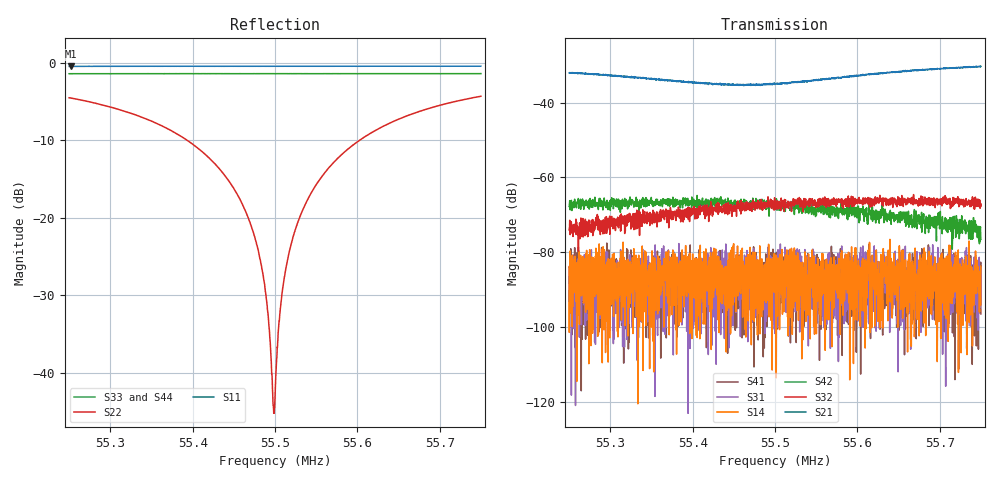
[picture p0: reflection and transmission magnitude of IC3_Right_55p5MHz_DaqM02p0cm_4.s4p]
#  HZ  S  DB  R  50.00
! Rohde & Schwarz Vector Network Analyzer
! Rohde-Schwarz,ZNB8-4Port,1311601044102961,2.82
! Created: UTC 2/13/2019, 12:05:53 PM
! freq[Hz]  db:S11  ang:S11  db:S12  ang:S12  db:S13  ang:S13  db:S14  ang:S14
!  db:S21  ang:S21  db:S22  ang:S22  db:S23  ang:S23  db:S24  ang:S24
!  db:S31  ang:S31  db:S32  ang:S32  db:S33  ang:S33  db:S34  ang:S34
!  db:S41  ang:S41  db:S42  ang:S42  db:S43  ang:S43  db:S44  ang:S44
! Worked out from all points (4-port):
!   2001 points, 55.25 MHz to 55.75 MHz, reference 50 ohm
!   strongest paths, dB at 55.25 MHz, 55.375 MHz, 55.5 MHz, 55.625 MHz, 55.75 MHz:
!     S21: -32.1, -34.0, -35.1, -32.2, -30.3
!     S32: -74.0, -69.4, -67.4, -66.6, -67.0
!     S42: -67.8, -66.2, -67.4, -70.0, -76.5
!     S14: -83.8, -83.9, -83.3, -84.5, -83.7
!     S31: -86.5, -93.2, -101.7, -91.7, -92.0
!     S41: -84.0, -80.6, -90.6, -85.2, -96.5
!   lowest |S11| = -0.5 dB at 55.2525 MHz (marker M1), VSWR 37.18, Z = 2.38 + j43.9 ohm
!   |S11| at or under -10 dB: nowhere
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5.525e7  -0.46 97.4  -32.06 71.3  -90.66 15.4  -83.81 -172.9
         -32.07 71.7  -4.51 -155.6  -77.14 -27.8  -69.44 -168.7
         -86.52 -160.4  -74.03 -5.4  -1.41 24.8  -90.47 57.8
         -83.97 -46.7  -67.77 -171.0  -90.32 41.5  -1.43 31.3
5.52525e7  -0.47 97.3  -32.03 71.9  -80.37 -23.2  -82.69 150.1
           -32.00 71.4  -4.56 -156.1  -74.84 -20.8  -67.41 -165.7
           -86.27 44.7  -71.83 -24.7  -1.41 24.7  -89.79 82.4
           -84.20 16.6  -66.37 -179.7  -85.59 115.8  -1.43 31.2
5.544475e7  -0.45 93.7  -35.10 81.2  -87.91 -85.6  -82.05 69.2
            -35.15 80.8  -15.38 164.1  -68.93 -53.4  -67.19 150.8
            -87.92 147.5  -69.64 -56.2  -1.40 22.3  -85.61 -91.9
            -83.48 -97.5  -66.60 163.8  -82.17 -14.0  -1.42 28.8
5.548125e7  -0.45 93.0  -35.11 88.9  -94.28 137.9  -91.60 -19.1
            -35.20 88.3  -25.06 158.7  -67.54 -57.3  -66.81 149.3
            -89.01 -16.4  -68.44 -65.6  -1.40 21.9  -82.98 -32.1
            -82.19 -5.1  -65.92 150.2  -110.34 -29.7  -1.42 28.4
5.54985e7  -0.45 92.7  -34.94 91.2  -95.20 -42.5  -90.57 -40.7
           -34.98 92.5  -45.27 -130.7  -68.56 -60.7  -70.62 170.9
           -95.97 -17.5  -67.24 -64.1  -1.40 21.6  -95.96 -68.6
           -88.05 28.2  -67.31 143.4  -88.95 -121.0  -1.42 28.2
5.55525e7  -0.44 91.7  -33.85 99.4  -84.64 -125.8  -86.84 -63.8
           -33.89 99.2  -15.36 -47.6  -66.90 -78.4  -66.78 123.3
           -87.75 148.5  -66.02 -75.9  -1.41 21.0  -95.53 -114.5
           -95.44 -127.0  -69.21 134.5  -91.27 -8.6  -1.42 27.5
5.575e7  -0.44 88.1  -30.39 93.0  -98.85 -2.5  -83.74 -23.2
         -30.34 92.7  -4.32 -89.6  -64.54 -111.9  -74.62 121.2
         -92.03 25.1  -67.02 -97.1  -1.40 18.5  -89.51 123.9
         -96.47 -84.5  -76.54 130.9  -87.55 165.7  -1.42 25.0
